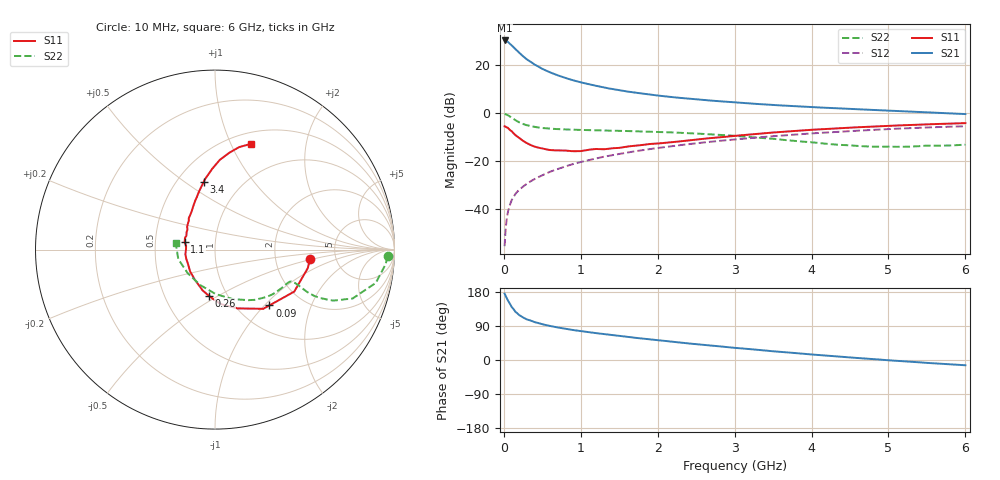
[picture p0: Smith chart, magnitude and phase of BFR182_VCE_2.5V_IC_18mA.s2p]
! Infineon Technologies  Discrete & RF Semiconductors
! BFR182
! VCE =  2.5 V,  IC =  18 mA
! Common Emitter S-Parameters:  Nov 2015
# GHz  S  MA  R  50
!  f  S11  S21  S12  S22
! GHz  MAG  ANG  MAG  ANG  MAG  ANG  MAG  ANG
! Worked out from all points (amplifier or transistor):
!   210 points, 10 MHz to 6 GHz, reference 50 ohm
!   highest |S21| = 30.3 dB at 10 MHz (marker M1)
!   |S21| within 3 dB of that: start of sweep to 131.8 MHz
!   unconditionally stable (mu >= 1): 536.3 MHz to 2.507 GHz
!   at 185 MHz: K = 0.69, MSG = 29.0 dB, |S12| = -32.4 dB
!   at 1.52 GHz: K = 1.05, MAG = 11.8 dB, |S12| = -16.9 dB
!   at 6 GHz: K = 0.90, MSG = 2.5 dB, |S12| = -5.4 dB
!   S11 on the Smith chart (normalised r, x): 10 MHz: 3.19, -0.49; 90 MHz: 1.39, -1.07; 260 MHz: 0.82, -0.45; 1.1 GHz: 0.71, +0.06; 3.4 GHz: 0.67, +0.60; 6 GHz: 0.62, +1.19
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0.01  0.5318 -5.9  32.74 175.2  0.0017 91.3  0.9625 -2.2
0.02  0.5269 -11.4  32.48 170.5  0.0032 79.8  0.9541 -4.9
0.05  0.4996 -27.9  30.89 157.8  0.0084 79.4  0.915 -11.7
0.09  0.4343 -45.7  26.95 144.5  0.0138 74.3  0.8324 -17.9
0.1  0.4257 -50.8  26.23 140.6  0.0152 73.6  0.8134 -19.6
0.15  0.3509 -69.0  21.67 127.2  0.0208 69.2  0.7155 -23.4
0.2  0.3053 -83.9  18.11 118.5  0.0255 69.7  0.6444 -24.8
0.26  0.2591 -97.7  14.87 111.2  0.0305 69.6  0.5888 -24.9
0.3  0.2376 -106.9  13.19 107.0  0.034 70.5  0.561 -24.6
0.4  0.2013 -124.2  10.31 100.0  0.0426 71.8  0.5175 -23.6
0.5  0.1846 -138.6  8.381 94.2  0.0508 73.0  0.4915 -22.8
0.7  0.1681 -161.9  6.147 85.8  0.0688 72.8  0.466 -22.7
0.9  0.1614 -179.9  4.836 79.1  0.0874 72.4  0.4529 -23.3
1.02  0.1646 171.0  4.316 75.7  0.0981 72.0  0.4473 -24.3
1.1  0.1737 166.4  4.025 73.6  0.1051 71.7  0.444 -25.1
1.6  0.202 140.2  2.834 61.0  0.1509 68.2  0.4254 -31.0
2.02  0.2352 126.4  2.316 51.9  0.1904 64.6  0.4075 -37.4
3.1  0.3484 103.6  1.634 30.5  0.2934 53.7  0.3282 -58.8
3.4  0.3838 99.3  1.518 25.0  0.3221 50.5  0.3007 -67.1
4.1  0.4608 90.8  1.317 13.1  0.3878 42.1  0.2386 -93.0
5.1  0.5534 80.6  1.115 -2.0  0.4751 29.5  0.1995 -144.1
6  0.621 71.4  0.959 -13.9  0.5353 16.9  0.2217 170.6
